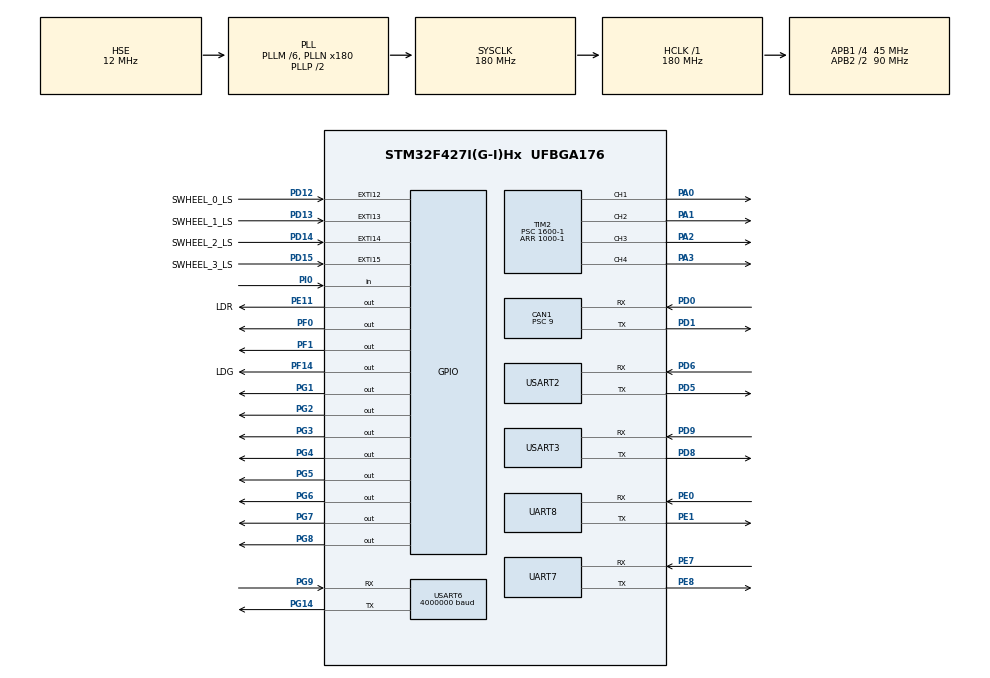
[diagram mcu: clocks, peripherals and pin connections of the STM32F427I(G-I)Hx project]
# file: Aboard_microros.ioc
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CAN1.ABOM=DISABLE
CAN1.AWUM=DISABLE
CAN1.BS1=CAN_BS1_3TQ
CAN1.BS2=CAN_BS2_1TQ
CAN1.CalculateBaudRate=1000000
CAN1.CalculateTimeBit=1000
CAN1.CalculateTimeQuantum=200.0
CAN1.Mode=CAN_MODE_NORMAL
CAN1.NART=DISABLE
CAN1.Prescaler=9
CAN1.RFLM=DISABLE
CAN1.SJW=CAN_SJW_1TQ
CAN1.TTCM=DISABLE
CAN1.TXFP=DISABLE
Dma.Request0=USART6_RX
Dma.Request1=USART3_RX
Dma.Request2=USART3_TX
Dma.Request3=UART8_RX
Dma.UART8_RX.3.Direction=DMA_PERIPH_TO_MEMORY
Dma.UART8_RX.3.FIFOMode=DMA_FIFOMODE_DISABLE
Dma.UART8_RX.3.Instance=DMA1_Stream6
Dma.UART8_RX.3.MemDataAlignment=DMA_MDATAALIGN_BYTE
Dma.UART8_RX.3.MemInc=DMA_MINC_ENABLE
Dma.UART8_RX.3.Mode=DMA_NORMAL
Dma.UART8_RX.3.PeriphDataAlignment=DMA_PDATAALIGN_BYTE
Dma.UART8_RX.3.PeriphInc=DMA_PINC_DISABLE
Dma.UART8_RX.3.Priority=DMA_PRIORITY_VERY_HIGH
Dma.USART3_RX.1.Direction=DMA_PERIPH_TO_MEMORY
Dma.USART3_RX.1.FIFOMode=DMA_FIFOMODE_DISABLE
Dma.USART3_RX.1.Instance=DMA1_Stream1
Dma.USART3_RX.1.MemDataAlignment=DMA_MDATAALIGN_BYTE
Dma.USART3_RX.1.MemInc=DMA_MINC_ENABLE
Dma.USART3_RX.1.Mode=DMA_CIRCULAR
Dma.USART3_RX.1.PeriphDataAlignment=DMA_PDATAALIGN_BYTE
Dma.USART3_RX.1.PeriphInc=DMA_PINC_DISABLE
Dma.USART3_RX.1.Priority=DMA_PRIORITY_HIGH
Dma.USART3_TX.2.Direction=DMA_MEMORY_TO_PERIPH
Dma.USART3_TX.2.FIFOMode=DMA_FIFOMODE_DISABLE
Dma.USART3_TX.2.Instance=DMA1_Stream3
Dma.USART3_TX.2.MemDataAlignment=DMA_MDATAALIGN_BYTE
Dma.USART3_TX.2.MemInc=DMA_MINC_ENABLE
Dma.USART3_TX.2.Mode=DMA_NORMAL
Dma.USART3_TX.2.PeriphDataAlignment=DMA_PDATAALIGN_BYTE
Dma.USART3_TX.2.PeriphInc=DMA_PINC_DISABLE
Dma.USART3_TX.2.Priority=DMA_PRIORITY_HIGH
Dma.USART6_RX.0.Direction=DMA_PERIPH_TO_MEMORY
Dma.USART6_RX.0.FIFOMode=DMA_FIFOMODE_DISABLE
Dma.USART6_RX.0.Instance=DMA2_Stream1
Dma.USART6_RX.0.MemDataAlignment=DMA_MDATAALIGN_BYTE
Dma.USART6_RX.0.MemInc=DMA_MINC_ENABLE
Dma.USART6_RX.0.Mode=DMA_NORMAL
Dma.USART6_RX.0.PeriphDataAlignment=DMA_PDATAALIGN_BYTE
Dma.USART6_RX.0.PeriphInc=DMA_PINC_DISABLE
Dma.USART6_RX.0.Priority=DMA_PRIORITY_HIGH
FREERTOS.HEAP_NUMBER=4
FREERTOS.Tasks01=nullTask,40,128,StartNullTask,Default,NULL,Dynamic,NULL,NULL
FREERTOS.configENABLE_FPU=1
FREERTOS.configTOTAL_HEAP_SIZE=15360*2
FREERTOS.configUSE_NEWLIB_REENTRANT=1
Mcu.Family=STM32F4
Mcu.Name=STM32F427I(G-I)Hx
Mcu.Package=UFBGA176
NVIC.CAN1_RX0_IRQn=true\:5\:0\:false\:false\:true\:true\:true\:true\:true
NVIC.DMA1_Stream1_IRQn=true\:6\:0\:true\:false\:true\:true\:false\:true\:true
NVIC.DMA1_Stream3_IRQn=true\:6\:0\:true\:false\:true\:true\:false\:true\:true
NVIC.DMA1_Stream6_IRQn=true\:5\:0\:false\:false\:true\:true\:false\:true\:true
NVIC.DMA2_Stream1_IRQn=true\:5\:0\:true\:false\:true\:true\:false\:true\:true
NVIC.EXTI15_10_IRQn=true\:5\:0\:true\:false\:true\:true\:true\:true\:true
NVIC.PriorityGroup=NVIC_PRIORITYGROUP_4
NVIC.TIM1_UP_TIM10_IRQn=true\:15\:0\:false\:false\:true\:false\:false\:true\:true
NVIC.TimeBase=TIM1_UP_TIM10_IRQn
NVIC.TimeBaseIP=TIM1
NVIC.UART8_IRQn=true\:5\:0\:true\:false\:true\:true\:true\:true\:true
NVIC.USART2_IRQn=true\:5\:0\:false\:false\:true\:true\:true\:true\:true
NVIC.USART3_IRQn=true\:6\:0\:true\:false\:true\:true\:true\:true\:true
NVIC.USART6_IRQn=true\:5\:0\:false\:false\:true\:true\:true\:true\:true
PA0/WKUP.Signal=S_TIM2_CH1_ETR
PA1.Signal=S_TIM2_CH2
PA13.Mode=Serial_Wire
PA13.Signal=SYS_JTMS-SWDIO
PA14.Mode=Serial_Wire
PA14.Signal=SYS_JTCK-SWCLK
PA2.Signal=S_TIM2_CH3
PA3.Signal=S_TIM2_CH4
PC14/OSC32_IN.Mode=LSE-External-Clock-Source
PC14/OSC32_IN.Signal=RCC_OSC32_IN
PC15/OSC32_OUT.Mode=LSE-External-Clock-Source
PC15/OSC32_OUT.Signal=RCC_OSC32_OUT
PD0.Mode=CAN_Activate
PD0.Signal=CAN1_RX
PD1.Mode=CAN_Activate
PD1.Signal=CAN1_TX
PD12.GPIO_Label=SWHEEL_0_LS
PD12.GPIO_PuPd=GPIO_PULLDOWN
PD12.Signal=GPXTI12
PD13.GPIO_Label=SWHEEL_1_LS
PD13.GPIO_PuPd=GPIO_PULLDOWN
PD13.Signal=GPXTI13
PD14.GPIO_Label=SWHEEL_2_LS
PD14.GPIO_PuPd=GPIO_PULLDOWN
PD14.Signal=GPXTI14
PD15.GPIO_Label=SWHEEL_3_LS
PD15.GPIO_PuPd=GPIO_PULLDOWN
PD15.Signal=GPXTI15
PD5.Mode=Asynchronous
PD5.Signal=USART2_TX
PD6.Mode=Asynchronous
PD6.Signal=USART2_RX
PD8.Mode=Asynchronous
PD8.Signal=USART3_TX
PD9.Mode=Asynchronous
PD9.Signal=USART3_RX
PE0.Mode=Asynchronous
PE0.Signal=UART8_RX
PE1.Mode=Asynchronous
PE1.Signal=UART8_TX
PE11.GPIO_Label=LDR
PE11.PinState=GPIO_PIN_SET
PE11.Signal=GPIO_Output
PE7.Mode=Asynchronous
PE7.Signal=UART7_RX
PE8.Mode=Asynchronous
PE8.Signal=UART7_TX
PF0.PinState=GPIO_PIN_RESET
PF0.Signal=GPIO_Output
PF1.PinState=GPIO_PIN_RESET
PF1.Signal=GPIO_Output
PF14.GPIO_Label=LDG
PF14.PinState=GPIO_PIN_SET
PF14.Signal=GPIO_Output
PG1.PinState=GPIO_PIN_SET
PG1.Signal=GPIO_Output
PG14.Mode=Asynchronous
PG14.Signal=USART6_TX
PG2.PinState=GPIO_PIN_SET
PG2.Signal=GPIO_Output
PG3.PinState=GPIO_PIN_SET
PG3.Signal=GPIO_Output
PG4.PinState=GPIO_PIN_SET
PG4.Signal=GPIO_Output
PG5.PinState=GPIO_PIN_SET
PG5.Signal=GPIO_Output
PG6.PinState=GPIO_PIN_SET
PG6.Signal=GPIO_Output
PG7.PinState=GPIO_PIN_SET
PG7.Signal=GPIO_Output
PG8.PinState=GPIO_PIN_SET
PG8.Signal=GPIO_Output
PG9.Mode=Asynchronous
PG9.Signal=USART6_RX
PH0/OSC_IN.Mode=HSE-External-Oscillator
PH0/OSC_IN.Signal=RCC_OSC_IN
PH1/OSC_OUT.Mode=HSE-External-Oscillator
PH1/OSC_OUT.Signal=RCC_OSC_OUT
PI0.GPIO_PuPd=GPIO_PULLDOWN
PI0.Signal=GPIO_Input
ProjectManager.HeapSize=0x200
ProjectManager.StackSize=0x400
ProjectManager.TargetToolchain=Makefile
RCC.48MHZClocksFreq_Value=51428571.428571425
RCC.AHBFreq_Value=180000000
RCC.APB1CLKDivider=RCC_HCLK_DIV4
RCC.APB1Freq_Value=45000000
RCC.APB1TimFreq_Value=90000000
RCC.APB2CLKDivider=RCC_HCLK_DIV2
RCC.APB2Freq_Value=90000000
RCC.APB2TimFreq_Value=180000000
RCC.CortexFreq_Value=180000000
RCC.FLatency=FLASH_LATENCY_5
RCC.HCLKFreq_Value=180000000
RCC.HSE_VALUE=12000000
RCC.HSI_VALUE=16000000
RCC.LSE_VALUE=32768
RCC.PLLM=6
RCC.PLLN=180
RCC.PLLQ=7
RCC.PLLSourceVirtual=RCC_PLLSOURCE_HSE
RCC.PWREXT_OverDrive=PWREXT_OverDrive_ACTIVATED
RCC.PWR_Regulator_Voltage_Scale=PWR_REGULATOR_VOLTAGE_SCALE1
RCC.SYSCLKFreq_VALUE=180000000
RCC.SYSCLKSource=RCC_SYSCLKSOURCE_PLLCLK
RCC.VCOOutputFreq_Value=360000000
SH.S_TIM2_CH1_ETR.0=TIM2_CH1,PWM Generation1 CH1
SH.S_TIM2_CH2.0=TIM2_CH2,PWM Generation2 CH2
SH.S_TIM2_CH3.0=TIM2_CH3,PWM Generation3 CH3
SH.S_TIM2_CH4.0=TIM2_CH4,PWM Generation4 CH4
STMicroelectronics.X-CUBE-ALGOBUILD.1.3.0.LibraryCcDSPOoLibraryJjDSPOoLibrary=true
TIM2.Channel-PWM\ Generation1\ CH1=TIM_CHANNEL_1
TIM2.Channel-PWM\ Generation2\ CH2=TIM_CHANNEL_2
TIM2.Channel-PWM\ Generation3\ CH3=TIM_CHANNEL_3
TIM2.Channel-PWM\ Generation4\ CH4=TIM_CHANNEL_4
TIM2.Period=1000-1
TIM2.Prescaler=1600-1
UART7.VirtualMode=Asynchronous
UART8.VirtualMode=Asynchronous
USART2.VirtualMode=VM_ASYNC
USART3.VirtualMode=VM_ASYNC
USART6.BaudRate=4000000
USART6.VirtualMode=VM_ASYNC
VP_FREERTOS_VS_CMSIS_V2.Mode=CMSIS_V2
VP_STMicroelectronics.X-CUBE-ALGOBUILD_VS_DSPOoLibraryJjLibrary_1.3.0_1.3.0.Mode=DSPOoLibraryJjLibrary
VP_SYS_VS_tim1.Mode=TIM1
VP_TIM2_VS_ClockSourceINT.Mode=Internal
board=custom

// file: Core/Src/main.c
/* USER CODE BEGIN Header */
/**
  ******************************************************************************
  * @file           : main.c
  * @brief          : Main program body
  ******************************************************************************
  * @attention
  *
  * Copyright (c) 2023 STMicroelectronics.
  * All rights reserved.
  *
  * This software is licensed under terms that can be found in the LICENSE file
  * in the root directory of this software component.
  * If no LICENSE file comes with this software, it is provided AS-IS.
  *
  ******************************************************************************
  */
/* USER CODE END Header */
#include "main.h"
#include "cmsis_os.h"
#include "can.h"
#include "dma.h"
#include "tim.h"
#include "usart.h"
#include "gpio.h"

/* USER CODE BEGIN Includes */
#include "retarget.h"
#include "semphr.h"
/* USER CODE END Includes */

void SystemClock_Config(void);
void MX_FREERTOS_Init(void);

int main(void)
{

  /* MCU Configuration--------------------------------------------------------*/

  /* Reset of all peripherals, Initializes the Flash interface and the Systick. */
  HAL_Init();

  /* Configure the system clock */
  SystemClock_Config();

  /* Initialize all configured peripherals */
  MX_GPIO_Init();
  MX_DMA_Init();
  MX_CAN1_Init();
  MX_USART6_UART_Init();
  MX_TIM2_Init();
  MX_UART8_Init();
  MX_UART7_Init();
  MX_USART3_UART_Init();
  MX_USART2_UART_Init();
  /* USER CODE BEGIN 2 */
  RetargetInit(&huart3);
  //MY_GPIO_Init();
  /* USER CODE END 2 */

  /* Init scheduler */
  osKernelInitialize();

  /* Call init function for freertos objects (in freertos.c) */
  MX_FREERTOS_Init();

  /* Start scheduler */
  osKernelStart();

  /* We should never get here as control is now taken by the scheduler */
  /* Infinite loop */
  while (1)
  {

  }
}

void SystemClock_Config(void)
{
  RCC_OscInitTypeDef RCC_OscInitStruct = {0};
  RCC_ClkInitTypeDef RCC_ClkInitStruct = {0};

  /** Configure the main internal regulator output voltage
  */
  __HAL_RCC_PWR_CLK_ENABLE();
  __HAL_PWR_VOLTAGESCALING_CONFIG(PWR_REGULATOR_VOLTAGE_SCALE1);

  /** Initializes the RCC Oscillators according to the specified parameters
  * in the RCC_OscInitTypeDef structure.
  */
  RCC_OscInitStruct.OscillatorType = RCC_OSCILLATORTYPE_HSE;
  RCC_OscInitStruct.HSEState = RCC_HSE_ON;
  RCC_OscInitStruct.PLL.PLLState = RCC_PLL_ON;
  RCC_OscInitStruct.PLL.PLLSource = RCC_PLLSOURCE_HSE;
  RCC_OscInitStruct.PLL.PLLM = 6;
  RCC_OscInitStruct.PLL.PLLN = 180;
  RCC_OscInitStruct.PLL.PLLP = RCC_PLLP_DIV2;
  RCC_OscInitStruct.PLL.PLLQ = 7;
  if (HAL_RCC_OscConfig(&RCC_OscInitStruct) != HAL_OK)
  {
    Error_Handler();
  }

  /** Activate the Over-Drive mode
  */
  if (HAL_PWREx_EnableOverDrive() != HAL_OK)
  {
    Error_Handler();
  }

  /** Initializes the CPU, AHB and APB buses clocks
  */
  RCC_ClkInitStruct.ClockType = RCC_CLOCKTYPE_HCLK|RCC_CLOCKTYPE_SYSCLK
                              |RCC_CLOCKTYPE_PCLK1|RCC_CLOCKTYPE_PCLK2;
  RCC_ClkInitStruct.SYSCLKSource = RCC_SYSCLKSOURCE_PLLCLK;
  RCC_ClkInitStruct.AHBCLKDivider = RCC_SYSCLK_DIV1;
  RCC_ClkInitStruct.APB1CLKDivider = RCC_HCLK_DIV4;
  RCC_ClkInitStruct.APB2CLKDivider = RCC_HCLK_DIV2;

  if (HAL_RCC_ClockConfig(&RCC_ClkInitStruct, FLASH_LATENCY_5) != HAL_OK)
  {
    Error_Handler();
  }
}

void HAL_TIM_PeriodElapsedCallback(TIM_HandleTypeDef *htim)
{
  if (htim->Instance == TIM1) {
    HAL_IncTick();
  }
}

void Error_Handler(void)
{
  __disable_irq();
  while (1)
  {
  }
}

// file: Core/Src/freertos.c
/* USER CODE BEGIN Header */
/**
  ******************************************************************************
  * File Name          : freertos.c
  * Description        : Code for freertos applications
  ******************************************************************************
  * @attention
  *
  * Copyright (c) 2023 STMicroelectronics.
  * All rights reserved.
  *
  * This software is licensed under terms that can be found in the LICENSE file
  * in the root directory of this software component.
  * If no LICENSE file comes with this software, it is provided AS-IS.
  *
  ******************************************************************************
  */
/* USER CODE END Header */

#include "FreeRTOS.h"
#include "task.h"
#include "main.h"
#include "cmsis_os.h"

/* USER CODE BEGIN Includes */
#include "semphr.h"
#include "event_groups.h"
#include "_up_control_thread.h"
#include "_chassis_thread.h"
#include "_micro_ros_thread.h"
/* USER CODE END Includes */

/* USER CODE BEGIN Variables */

xTaskHandle upControlTaskHandle;
xTaskHandle microrosTaskHandle;
xTaskHandle chassisTaskHandle;
EventGroupHandle_t UP_Control_Event_Handle;
SemaphoreHandle_t sync_mutex;
SemaphoreHandle_t data_mutex;
/* USER CODE END Variables */
/* Definitions for nullTask */
osThreadId_t nullTaskHandle;
const osThreadAttr_t nullTask_attributes = {
  .name = "nullTask",
  .stack_size = 128 * 4,
  .priority = (osPriority_t) osPriorityHigh,
};

void StartNullTask(void *argument);

void MX_FREERTOS_Init(void); /* (MISRA C 2004 rule 8.1) */

void MX_FREERTOS_Init(void) {

  /* USER CODE BEGIN RTOS_SEMAPHORES */
  /* add semaphores, ... */

    //sync_mutex = xSemaphoreCreateBinary();
    //data_mutex = xSemaphoreCreateMutex();
  /* USER CODE END RTOS_SEMAPHORES */

  /* Create the thread(s) */
  /* creation of nullTask */
  nullTaskHandle = osThreadNew(StartNullTask, NULL, &nullTask_attributes);

  /* USER CODE BEGIN RTOS_THREADS */
  /* add threads, ... */
  //xTaskCreate(StartUpControlTask,"up control task",512,NULL,0,&upControlTaskHandle);
if(xTaskCreate(StartMicrorosTask,"micro ros",3000,NULL,1,&microrosTaskHandle)!=pdPASS)
{
    while(1);
}
if(xTaskCreate(StartUpControlTask,"up control task",512,NULL,0,&upControlTaskHandle)!=pdPASS)
{
   while(1);
}
if(xTaskCreate(StartChassisTask,"chassis task",512,NULL,5,&chassisTaskHandle)!=pdPASS)
{
    while (1);
}

  /* USER CODE END RTOS_THREADS */

  /* USER CODE BEGIN RTOS_EVENTS */
  /* add events, ... */
  UP_Control_Event_Handle = xEventGroupCreate();
  /* USER CODE END RTOS_EVENTS */

}

void StartNullTask(void *argument)
{
  /* USER CODE BEGIN StartNullTask */
  /* Infinite loop */
  vTaskDelete(NULL);
  /* USER CODE END StartNullTask */
}
